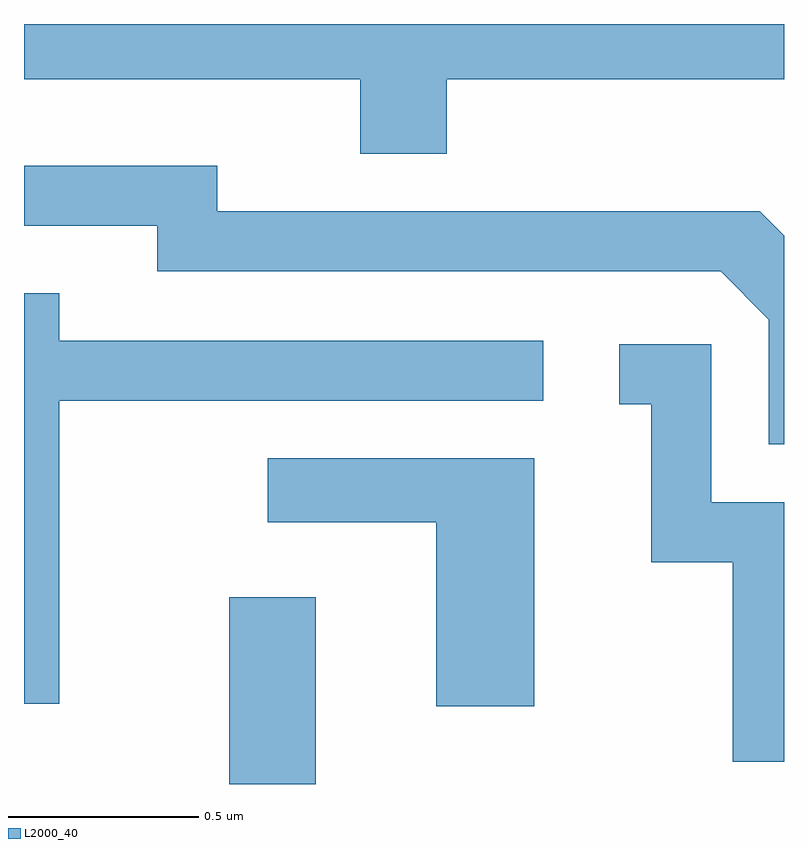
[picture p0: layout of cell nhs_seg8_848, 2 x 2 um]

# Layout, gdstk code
import gdstk
lib = gdstk.Library(unit=1e-6, precision=1e-09)
def R(c, l, rs):  # rectangles x0, y0, x1, y1
    for r in rs: c.add(gdstk.rectangle(r[:2], r[2:], *l))
def P(c, l, *ps):  # polygons
    for p in ps: c.add(gdstk.Polygon(p, *l))
L2000_40 = (2000, 40)

nhs_seg8_848 = lib.new_cell('nhs_seg8_848')
R(nhs_seg8_848, L2000_40, [(192.151,1832.342,192.379,1832.834)])
P(nhs_seg8_848, L2000_40, [(192.724,1834.196),(193.611,1834.196),(193.611,1834.342),(191.611,1834.342),(191.611,1834.196),(192.496,1834.196),(192.496,1834.001),(192.724,1834.001)],
  [(193.611,1833.785),(193.547,1833.849),(192.119,1833.849),(192.119,1833.969),(191.611,1833.969),(191.611,1833.811),(191.961,1833.811),(191.961,1833.691),(193.444,1833.691),(193.571,1833.564),(193.571,1833.236),(193.611,1833.236)],
  [(191.704,1833.351),(192.978,1833.351),(192.978,1833.509),(191.704,1833.509),(191.704,1833.633),(191.611,1833.633),(191.611,1832.553),(191.704,1832.553)],
  [(193.611,1833.084),(193.419,1833.084),(193.419,1833.499),(193.178,1833.499),(193.178,1833.341),(193.261,1833.341),(193.261,1832.926),(193.476,1832.926),(193.476,1832.401),(193.611,1832.401)],
  [(192.954,1833.199),(192.253,1833.199),(192.253,1833.031),(192.696,1833.031),(192.696,1832.546),(192.954,1832.546)])

lib.write_gds('nhs_seg8_848.gds')
